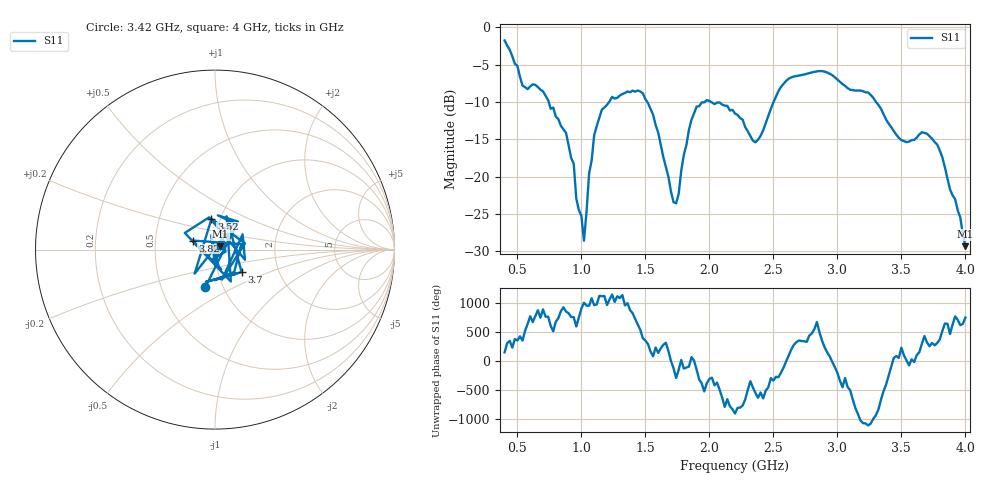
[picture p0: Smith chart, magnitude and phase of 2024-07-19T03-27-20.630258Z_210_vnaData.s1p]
!Created with skrf (http://scikit-rf.org).
# Hz S RI R 50.0
!freq ReS11 ImS11
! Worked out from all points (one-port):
!   181 points, 400 MHz to 4 GHz, reference 50 ohm
!   lowest |S11| = -29.3 dB at 4 GHz (marker M1), VSWR 1.07, Z = 53 + j1.84 ohm
!   |S11| at or under -10 dB: 744.4 MHz to 1.216 GHz (471.6 MHz wide, 48.1 % of centre); 2.014 GHz to 2.501 GHz (487.4 MHz wide, 21.6 % of centre); 3.302 GHz to end of sweep (the widest 3 of 4)
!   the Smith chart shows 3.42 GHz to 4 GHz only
!   S11 on the Smith chart (normalised r, x): 3.42 GHz: 0.83, -0.36; 3.52 GHz: 0.91, +0.32; 3.7 GHz: 1.30, -0.34; 3.82 GHz: 0.77, +0.08; 4 GHz: 1.06, +0.04
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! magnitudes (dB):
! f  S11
! 400 MHz  -1.8
! 540 MHz  -7.8
! 700 MHz  -8.6
! 860 MHz  -13.7
! 940 MHz  -18.3
! 960 MHz  -22.9
! 1.02 GHz  -28.6
! 1.06 GHz  -19.6
! 1.1 GHz  -14.4
! 1.16 GHz  -11.0
! 1.3 GHz  -9.1
! 1.48 GHz  -8.8
! 1.6 GHz  -14.1
! 1.72 GHz  -23.4
! 1.76 GHz  -22.3
! 1.84 GHz  -13.7
! 1.9 GHz  -10.6
! 2.2 GHz  -11.5
! 2.36 GHz  -15.4
! 2.66 GHz  -6.6
! 3.1 GHz  -8.4
! 3.24 GHz  -8.7
! 3.42 GHz  -13.3
! 3.52 GHz  -15.2
! 3.56 GHz  -15.3
! 3.7 GHz  -14.2
! 3.82 GHz  -17.4
! 4 GHz  -29.3
